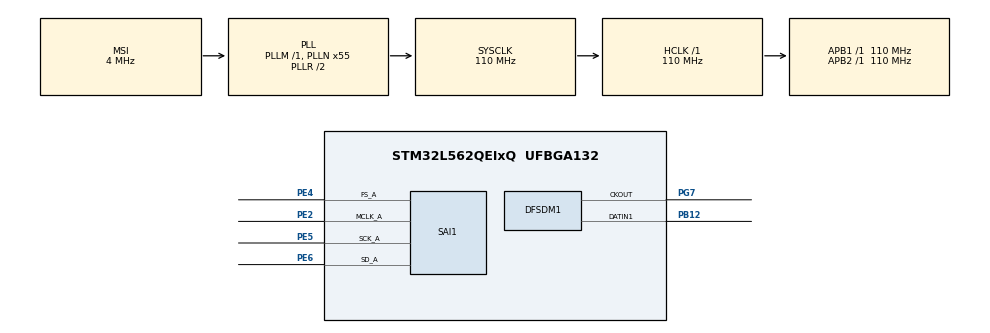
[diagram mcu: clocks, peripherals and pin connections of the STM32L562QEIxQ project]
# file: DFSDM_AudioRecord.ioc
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DFSDM1.Divider=4
DFSDM1.DmaMode_reg_FIL0=ENABLE
DFSDM1.FastMode_reg_FIL0=ENABLE
DFSDM1.FilterOrder_CH1=DFSDM_CHANNEL_SINC1_ORDER
DFSDM1.Filter_regChannel_FIL0=DFSDM_CHANNEL_1
DFSDM1.Fosr_FIL0=64
DFSDM1.Oversampling_CH1=10
DFSDM1.Selection=DFSDM_CHANNEL_OUTPUT_CLOCK_AUDIO
DFSDM1.SincOrder_FIL0=DFSDM_FILTER_SINC3_ORDER
Dma.DFSDM1_FLT0.0.Channel_PRIV_NPRIV=DMA_CHANNEL_NPRIV_DISABLE
Dma.DFSDM1_FLT0.0.Direction=DMA_PERIPH_TO_MEMORY
Dma.DFSDM1_FLT0.0.EventEnable=DISABLE
Dma.DFSDM1_FLT0.0.Instance=DMA1_Channel4
Dma.DFSDM1_FLT0.0.MemDataAlignment=DMA_MDATAALIGN_WORD
Dma.DFSDM1_FLT0.0.MemInc=DMA_MINC_ENABLE
Dma.DFSDM1_FLT0.0.Mode=DMA_CIRCULAR
Dma.DFSDM1_FLT0.0.PeriphDataAlignment=DMA_PDATAALIGN_WORD
Dma.DFSDM1_FLT0.0.PeriphInc=DMA_PINC_DISABLE
Dma.DFSDM1_FLT0.0.Polarity=HAL_DMAMUX_REQ_GEN_RISING
Dma.DFSDM1_FLT0.0.Priority=DMA_PRIORITY_HIGH
Dma.DFSDM1_FLT0.0.RequestNumber=1
Dma.DFSDM1_FLT0.0.SignalID=NONE
Dma.DFSDM1_FLT0.0.SyncEnable=DISABLE
Dma.DFSDM1_FLT0.0.SyncPolarity=HAL_DMAMUX_SYNC_NO_EVENT
Dma.DFSDM1_FLT0.0.SyncRequestNumber=1
Dma.DFSDM1_FLT0.0.SyncSignalID=NONE
Dma.Request0=DFSDM1_FLT0
Dma.Request1=SAI1_A
Dma.SAI1_A.1.Channel_PRIV_NPRIV=DMA_CHANNEL_NPRIV_DISABLE
Dma.SAI1_A.1.Direction=DMA_MEMORY_TO_PERIPH
Dma.SAI1_A.1.EventEnable=DISABLE
Dma.SAI1_A.1.Instance=DMA2_Channel1
Dma.SAI1_A.1.MemDataAlignment=DMA_MDATAALIGN_HALFWORD
Dma.SAI1_A.1.MemInc=DMA_MINC_ENABLE
Dma.SAI1_A.1.Mode=DMA_CIRCULAR
Dma.SAI1_A.1.PeriphDataAlignment=DMA_PDATAALIGN_HALFWORD
Dma.SAI1_A.1.PeriphInc=DMA_PINC_DISABLE
Dma.SAI1_A.1.Polarity=HAL_DMAMUX_REQ_GEN_RISING
Dma.SAI1_A.1.Priority=DMA_PRIORITY_HIGH
Dma.SAI1_A.1.RequestNumber=1
Dma.SAI1_A.1.SignalID=NONE
Dma.SAI1_A.1.SyncEnable=DISABLE
Dma.SAI1_A.1.SyncPolarity=HAL_DMAMUX_SYNC_NO_EVENT
Dma.SAI1_A.1.SyncRequestNumber=1
Dma.SAI1_A.1.SyncSignalID=NONE
Mcu.Family=STM32L5
Mcu.Name=STM32L562QEIxQ
Mcu.Package=UFBGA132
NVIC.DMA1_Channel4_IRQn=true\:7\:0\:true\:false\:true\:false\:true\:true
NVIC.DMA2_Channel1_IRQn=true\:7\:0\:true\:false\:true\:false\:true\:true
NVIC.PriorityGroup=NVIC_PRIORITYGROUP_3
PB12.GPIO_Speed=GPIO_SPEED_FREQ_VERY_HIGH
PB12.Signal=S_DATAIN1DFSDM1
PE2.GPIO_Speed=GPIO_SPEED_FREQ_VERY_HIGH
PE2.Mode=SAI_A_MasterWithClock
PE2.Signal=SAI1_MCLK_A
PE4.GPIO_Speed=GPIO_SPEED_FREQ_VERY_HIGH
PE4.Mode=SAI_A_MasterWithClock
PE4.Signal=SAI1_FS_A
PE5.GPIO_Speed=GPIO_SPEED_FREQ_VERY_HIGH
PE5.Mode=SAI_A_MasterWithClock
PE5.Signal=SAI1_SCK_A
PE6.GPIO_Speed=GPIO_SPEED_FREQ_VERY_HIGH
PE6.Mode=SAI_A_MasterWithClock
PE6.Signal=SAI1_SD_A
PG7.GPIO_Speed=GPIO_SPEED_FREQ_VERY_HIGH
PG7.Signal=S_CKOUTDFSDM1
ProjectManager.HeapSize=0x200
ProjectManager.StackSize=0x400
ProjectManager.TargetToolchain=EWARM V8.32
RCC.ADCFreq_Value=96000000
RCC.AHBFreq_Value=110000000
RCC.APB1Freq_Value=110000000
RCC.APB1TimFreq_Value=110000000
RCC.APB2Freq_Value=110000000
RCC.APB2TimFreq_Value=110000000
RCC.CortexFreq_Value=110000000
RCC.DFSDMAudioCLockSelection=RCC_DFSDM1AUDIOCLKSOURCE_SAI1
RCC.HCLKFreq_Value=110000000
RCC.HSE_VALUE=16000000
RCC.HSI48_VALUE=48000000
RCC.HSI_VALUE=16000000
RCC.LSE_VALUE=32768
RCC.MSI_VALUE=4000000
RCC.PLLN=55
RCC.PLLSAI1N=48
RCC.PLLSAI1P=RCC_PLLP_DIV17
RCC.SYSCLKFreq_VALUE=110000000
RCC.SYSCLKSource=RCC_SYSCLKSOURCE_PLLCLK
RCC.USBFreq_Value=96000000
RCC.VCOOutputFreq_Value=220000000
SAI1.ActiveFrameLength-SAI_A_MasterWithClock=16
SAI1.AudioFrequency-SAI_A_MasterWithClock=SAI_AUDIO_FREQUENCY_44K
SAI1.DataSize-SAI_A_MasterWithClock=SAI_DATASIZE_16
SAI1.ErrorAudioFreq-SAI_A_MasterWithClock=0.26 %
SAI1.FIFOThreshold-SAI_A_MasterWithClock=SAI_FIFOTHRESHOLD_1QF
SAI1.FSDefinition-SAI_A_MasterWithClock=SAI_FS_CHANNEL_IDENTIFICATION
SAI1.FSOffset-SAI_A_MasterWithClock=SAI_FS_BEFOREFIRSTBIT
SAI1.FrameLength-SAI_A_MasterWithClock=32
SAI1.Instance-SAI_A_MasterWithClock=SAI$Index_Block_A
SAI1.MckOutput-SAI_A_MasterWithClock=SAI_MCK_OUTPUT_ENABLE
SAI1.MonoStereoMode-SAI_A_MasterWithClock=SAI_STEREOMODE
SAI1.OutputDrive-SAI_A_MasterWithClock=SAI_OUTPUTDRIVE_ENABLE
SAI1.RealAudioFreq-SAI_A_MasterWithClock=44.117 KHz
SAI1.SlotActive-SAI_A_MasterWithClock=0x00000003
SAI1.SlotNumber-SAI_A_MasterWithClock=2
SAI1.VirtualMode-SAI_A_MasterWithClock=VM_MASTER
SAI1.VirtualSlotActive-SAI_A_MasterWithClock=SAI_SLOT_USERSETTING
SAI1.VirtualSlotActive0-SAI_A_MasterWithClock=true
SAI1.VirtualSlotActive1-SAI_A_MasterWithClock=true
SH.S_CKOUTDFSDM1.0=DFSDM1_CKOUT,CKOUT
SH.S_CKOUTDFSDM1.1=DFSDM1_CKOUT,PDM_SPI_input_from_ch1_and_internal_clock
SH.S_DATAIN1DFSDM1.0=DFSDM1_DATIN1,PDM_SPI_input_from_ch1_and_internal_clock
VP_ICACHE_VS_ICACHE.Mode=DirectMappedCache
VP_PWR_VS_DBSignals.Mode=DisableDeadBatterySignals
board=custom

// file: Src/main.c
/* USER CODE BEGIN Header */
/**
  ******************************************************************************
  * @file           : main.c
  * @brief          : Main program body
  ******************************************************************************
  * @attention
  *
  * Copyright (c) 2019 STMicroelectronics.
  * All rights reserved.
  *
  * This software is licensed under terms that can be found in the LICENSE file
  * in the root directory of this software component.
  * If no LICENSE file comes with this software, it is provided AS-IS.
  *
  ******************************************************************************
  */
/* USER CODE END Header */
#include "main.h"

/* USER CODE BEGIN Includes */
#include "stm32l562e_discovery.h"
#include "stm32l562e_discovery_bus.h"
#include "audio.h"
#include "cs42l51.h"
/* USER CODE END Includes */

/* USER CODE BEGIN PD */
#define AUDIO_I2C_ADDRESS  0x94U
/* USER CODE END PD */

/* USER CODE BEGIN PM */
#define SaturaLH(N, L, H) (((N)<(L))?(L):(((N)>(H))?(H):(N)))
/* USER CODE END PM */

DFSDM_Filter_HandleTypeDef hdfsdm1_filter0;
DFSDM_Channel_HandleTypeDef hdfsdm1_channel1;
DMA_HandleTypeDef hdma_dfsdm1_flt0;

SAI_HandleTypeDef hsai_BlockA1;
DMA_HandleTypeDef hdma_sai1_a;

/* USER CODE BEGIN PV */
int32_t                      RecBuff[2048];
int16_t                      PlayBuff[4096];
__IO uint32_t                DmaRecHalfBuffCplt  = 0;
__IO uint32_t                DmaRecBuffCplt      = 0;
uint32_t                     PlaybackStarted     = 0;
/* Audio component object */
void *Audio_CompObj = NULL;
/* Audio driver */
AUDIO_Drv_t *Audio_Drv = NULL;
/* USER CODE END PV */

void SystemClock_Config(void);
void PeriphCommonClock_Config(void);
static void MX_GPIO_Init(void);
static void MX_DMA_Init(void);
static void MX_ICACHE_Init(void);
static void MX_DFSDM1_Init(void);
static void MX_SAI1_Init(void);
/* USER CODE BEGIN PFP */
static void Playback_Init(void);
/* USER CODE END PFP */

int main(void)
{
  /* USER CODE BEGIN 1 */
  uint32_t i;
  /* USER CODE END 1 */

  /* MCU Configuration--------------------------------------------------------*/

  /* Reset of all peripherals, Initializes the Flash interface and the Systick. */
  HAL_Init();

  /* Configure the system clock */
  SystemClock_Config();

/* Configure the peripherals common clocks */
  PeriphCommonClock_Config();

  /* USER CODE BEGIN SysInit */
  /* Configure LED_RED */
  if (BSP_LED_Init(LED_RED) != BSP_ERROR_NONE)
  {
    Error_Handler();
  }
  /* USER CODE END SysInit */

  /* Initialize all configured peripherals */
  MX_GPIO_Init();
  MX_DMA_Init();
  MX_ICACHE_Init();
  MX_DFSDM1_Init();
  MX_SAI1_Init();
  /* USER CODE BEGIN 2 */
  /* Initialize playback */
  Playback_Init();

  /* Start DFSDM conversions */
  if(HAL_OK != HAL_DFSDM_FilterRegularStart_DMA(&hdfsdm1_filter0, RecBuff, 2048))
  {
    Error_Handler();
  }
  /* USER CODE END 2 */

  /* Infinite loop */
  /* USER CODE BEGIN WHILE */
  while (1)
  {
    if(DmaRecHalfBuffCplt == 1)
    {
      /* Store values on Play buff */
      for(i = 0; i < 1024; i++)
      {
        PlayBuff[2*i]     = SaturaLH((RecBuff[i] >> 8), -32768, 32767);
        PlayBuff[(2*i)+1] = PlayBuff[2*i];
      }
      if(PlaybackStarted == 0)
      {
        if(HAL_OK != HAL_SAI_Transmit_DMA(&hsai_BlockA1, (uint8_t *) &PlayBuff[0], 4096))
        {
          Error_Handler();
        }
        if (Audio_Drv->Play(Audio_CompObj) < 0)
        {
          Error_Handler();
        }
        PlaybackStarted = 1;
      }
      DmaRecHalfBuffCplt  = 0;
    }
    if(DmaRecBuffCplt == 1)
    {
      /* Store values on Play buff */
      for(i = 1024; i < 2048; i++)
      {
        PlayBuff[2*i]     = SaturaLH((RecBuff[i] >> 8), -32768, 32767);
        PlayBuff[(2*i)+1] = PlayBuff[2*i];
      }
      DmaRecBuffCplt  = 0;
    }
    /* USER CODE END WHILE */

  }
}

void SystemClock_Config(void)
{
  RCC_OscInitTypeDef RCC_OscInitStruct = {0};
  RCC_ClkInitTypeDef RCC_ClkInitStruct = {0};

  /** Configure the main internal regulator output voltage
  */
  if (HAL_PWREx_ControlVoltageScaling(PWR_REGULATOR_VOLTAGE_SCALE0) != HAL_OK)
  {
    Error_Handler();
  }

  /** Initializes the RCC Oscillators according to the specified parameters
  * in the RCC_OscInitTypeDef structure.
  */
  RCC_OscInitStruct.OscillatorType = RCC_OSCILLATORTYPE_MSI;
  RCC_OscInitStruct.MSIState = RCC_MSI_ON;
  RCC_OscInitStruct.MSICalibrationValue = RCC_MSICALIBRATION_DEFAULT;
  RCC_OscInitStruct.MSIClockRange = RCC_MSIRANGE_6;
  RCC_OscInitStruct.PLL.PLLState = RCC_PLL_ON;
  RCC_OscInitStruct.PLL.PLLSource = RCC_PLLSOURCE_MSI;
  RCC_OscInitStruct.PLL.PLLM = 1;
  RCC_OscInitStruct.PLL.PLLN = 55;
  RCC_OscInitStruct.PLL.PLLP = RCC_PLLP_DIV7;
  RCC_OscInitStruct.PLL.PLLQ = RCC_PLLQ_DIV2;
  RCC_OscInitStruct.PLL.PLLR = RCC_PLLR_DIV2;
  if (HAL_RCC_OscConfig(&RCC_OscInitStruct) != HAL_OK)
  {
    Error_Handler();
  }

  /** Initializes the CPU, AHB and APB buses clocks
  */
  RCC_ClkInitStruct.ClockType = RCC_CLOCKTYPE_HCLK|RCC_CLOCKTYPE_SYSCLK
                              |RCC_CLOCKTYPE_PCLK1|RCC_CLOCKTYPE_PCLK2;
  RCC_ClkInitStruct.SYSCLKSource = RCC_SYSCLKSOURCE_PLLCLK;
  RCC_ClkInitStruct.AHBCLKDivider = RCC_SYSCLK_DIV1;
  RCC_ClkInitStruct.APB1CLKDivider = RCC_HCLK_DIV1;
  RCC_ClkInitStruct.APB2CLKDivider = RCC_HCLK_DIV1;

  if (HAL_RCC_ClockConfig(&RCC_ClkInitStruct, FLASH_LATENCY_5) != HAL_OK)
  {
    Error_Handler();
  }
}

void PeriphCommonClock_Config(void)
{
  RCC_PeriphCLKInitTypeDef PeriphClkInit = {0};

  /** Initializes the common periph clock
  */
  PeriphClkInit.PeriphClockSelection = RCC_PERIPHCLK_DFSDM1AUDIO|RCC_PERIPHCLK_SAI1;
  PeriphClkInit.Sai1ClockSelection = RCC_SAI1CLKSOURCE_PLLSAI1;
  PeriphClkInit.Dfsdm1AudioClockSelection = RCC_DFSDM1AUDIOCLKSOURCE_SAI1;
  PeriphClkInit.PLLSAI1.PLLSAI1Source = RCC_PLLSAI1SOURCE_MSI;
  PeriphClkInit.PLLSAI1.PLLSAI1M = 1;
  PeriphClkInit.PLLSAI1.PLLSAI1N = 48;
  PeriphClkInit.PLLSAI1.PLLSAI1P = RCC_PLLP_DIV17;
  PeriphClkInit.PLLSAI1.PLLSAI1Q = RCC_PLLQ_DIV2;
  PeriphClkInit.PLLSAI1.PLLSAI1R = RCC_PLLR_DIV2;
  PeriphClkInit.PLLSAI1.PLLSAI1ClockOut = RCC_PLLSAI1_SAI1CLK;
  if (HAL_RCCEx_PeriphCLKConfig(&PeriphClkInit) != HAL_OK)
  {
    Error_Handler();
  }
}

static void MX_DFSDM1_Init(void)
{

  hdfsdm1_filter0.Instance = DFSDM1_Filter0;
  hdfsdm1_filter0.Init.RegularParam.Trigger = DFSDM_FILTER_SW_TRIGGER;
  hdfsdm1_filter0.Init.RegularParam.FastMode = ENABLE;
  hdfsdm1_filter0.Init.RegularParam.DmaMode = ENABLE;
  hdfsdm1_filter0.Init.FilterParam.SincOrder = DFSDM_FILTER_SINC3_ORDER;
  hdfsdm1_filter0.Init.FilterParam.Oversampling = 64;
  hdfsdm1_filter0.Init.FilterParam.IntOversampling = 1;
  if (HAL_DFSDM_FilterInit(&hdfsdm1_filter0) != HAL_OK)
  {
    Error_Handler();
  }
  hdfsdm1_channel1.Instance = DFSDM1_Channel1;
  hdfsdm1_channel1.Init.OutputClock.Activation = ENABLE;
  hdfsdm1_channel1.Init.OutputClock.Selection = DFSDM_CHANNEL_OUTPUT_CLOCK_AUDIO;
  hdfsdm1_channel1.Init.OutputClock.Divider = 4;
  hdfsdm1_channel1.Init.Input.Multiplexer = DFSDM_CHANNEL_EXTERNAL_INPUTS;
  hdfsdm1_channel1.Init.Input.DataPacking = DFSDM_CHANNEL_STANDARD_MODE;
  hdfsdm1_channel1.Init.Input.Pins = DFSDM_CHANNEL_SAME_CHANNEL_PINS;
  hdfsdm1_channel1.Init.SerialInterface.Type = DFSDM_CHANNEL_SPI_RISING;
  hdfsdm1_channel1.Init.SerialInterface.SpiClock = DFSDM_CHANNEL_SPI_CLOCK_INTERNAL;
  hdfsdm1_channel1.Init.Awd.FilterOrder = DFSDM_CHANNEL_SINC1_ORDER;
  hdfsdm1_channel1.Init.Awd.Oversampling = 10;
  hdfsdm1_channel1.Init.Offset = 0;
  hdfsdm1_channel1.Init.RightBitShift = 0x00;
  if (HAL_DFSDM_ChannelInit(&hdfsdm1_channel1) != HAL_OK)
  {
    Error_Handler();
  }
  if (HAL_DFSDM_FilterConfigRegChannel(&hdfsdm1_filter0, DFSDM_CHANNEL_1, DFSDM_CONTINUOUS_CONV_ON) != HAL_OK)
  {
    Error_Handler();
  }

}

static void MX_ICACHE_Init(void)
{

  /** Enable instruction cache in 1-way (direct mapped cache)
  */
  if (HAL_ICACHE_ConfigAssociativityMode(ICACHE_1WAY) != HAL_OK)
  {
    Error_Handler();
  }
  if (HAL_ICACHE_Enable() != HAL_OK)
  {
    Error_Handler();
  }

}

static void MX_SAI1_Init(void)
{

  hsai_BlockA1.Instance = SAI1_Block_A;
  hsai_BlockA1.Init.Protocol = SAI_FREE_PROTOCOL;
  hsai_BlockA1.Init.AudioMode = SAI_MODEMASTER_TX;
  hsai_BlockA1.Init.DataSize = SAI_DATASIZE_16;
  hsai_BlockA1.Init.FirstBit = SAI_FIRSTBIT_MSB;
  hsai_BlockA1.Init.ClockStrobing = SAI_CLOCKSTROBING_FALLINGEDGE;
  hsai_BlockA1.Init.Synchro = SAI_ASYNCHRONOUS;
  hsai_BlockA1.Init.OutputDrive = SAI_OUTPUTDRIVE_ENABLE;
  hsai_BlockA1.Init.NoDivider = SAI_MASTERDIVIDER_ENABLE;
  hsai_BlockA1.Init.FIFOThreshold = SAI_FIFOTHRESHOLD_1QF;
  hsai_BlockA1.Init.AudioFrequency = SAI_AUDIO_FREQUENCY_44K;
  hsai_BlockA1.Init.SynchroExt = SAI_SYNCEXT_DISABLE;
  hsai_BlockA1.Init.MonoStereoMode = SAI_STEREOMODE;
  hsai_BlockA1.Init.CompandingMode = SAI_NOCOMPANDING;
  hsai_BlockA1.Init.TriState = SAI_OUTPUT_NOTRELEASED;
  hsai_BlockA1.Init.PdmInit.Activation = DISABLE;
  hsai_BlockA1.Init.PdmInit.MicPairsNbr = 1;
  hsai_BlockA1.Init.PdmInit.ClockEnable = SAI_PDM_CLOCK1_ENABLE;
  hsai_BlockA1.FrameInit.FrameLength = 32;
  hsai_BlockA1.FrameInit.ActiveFrameLength = 16;
  hsai_BlockA1.FrameInit.FSDefinition = SAI_FS_CHANNEL_IDENTIFICATION;
  hsai_BlockA1.FrameInit.FSPolarity = SAI_FS_ACTIVE_LOW;
  hsai_BlockA1.FrameInit.FSOffset = SAI_FS_BEFOREFIRSTBIT;
  hsai_BlockA1.SlotInit.FirstBitOffset = 0;
  hsai_BlockA1.SlotInit.SlotSize = SAI_SLOTSIZE_DATASIZE;
  hsai_BlockA1.SlotInit.SlotNumber = 2;
  hsai_BlockA1.SlotInit.SlotActive = 0x00000003;
  if (HAL_SAI_Init(&hsai_BlockA1) != HAL_OK)
  {
    Error_Handler();
  }

}

static void MX_DMA_Init(void)
{

  /* DMA controller clock enable */
  __HAL_RCC_DMAMUX1_CLK_ENABLE();
  __HAL_RCC_DMA1_CLK_ENABLE();
  __HAL_RCC_DMA2_CLK_ENABLE();

  /* DMA interrupt init */
  /* DMA1_Channel4_IRQn interrupt configuration */
  HAL_NVIC_SetPriority(DMA1_Channel4_IRQn, 7, 0);
  HAL_NVIC_EnableIRQ(DMA1_Channel4_IRQn);
  /* DMA2_Channel1_IRQn interrupt configuration */
  HAL_NVIC_SetPriority(DMA2_Channel1_IRQn, 7, 0);
  HAL_NVIC_EnableIRQ(DMA2_Channel1_IRQn);

}

static void MX_GPIO_Init(void)
{

  /* GPIO Ports Clock Enable */
  __HAL_RCC_GPIOE_CLK_ENABLE();
  __HAL_RCC_GPIOG_CLK_ENABLE();
  HAL_PWREx_EnableVddIO2();
  __HAL_RCC_GPIOB_CLK_ENABLE();

}

/* USER CODE BEGIN 4 */
/**
  * @brief  Playback initialization
  * @param  None
  * @retval None
  */
static void Playback_Init(void)
{
  GPIO_InitTypeDef         GPIO_InitStruct;
  CS42L51_IO_t             IOCtx;
  uint32_t                 cs42l51_id;
  static CS42L51_Object_t  CS42L51Obj;
  CS42L51_Init_t           codec_init;

  /* Initialize and configure the CS42L51 reset pin */
  __HAL_RCC_PWR_CLK_ENABLE();
  HAL_PWREx_EnableVddIO2();
  __HAL_RCC_GPIOG_CLK_ENABLE();
  GPIO_InitStruct.Mode  = GPIO_MODE_OUTPUT_PP;
  GPIO_InitStruct.Pull  = GPIO_PULLDOWN;
  GPIO_InitStruct.Speed = GPIO_SPEED_FREQ_VERY_HIGH;
  GPIO_InitStruct.Pin   = GPIO_PIN_1;
  HAL_GPIO_Init(GPIOG, &GPIO_InitStruct);

  /* Un-reset the CS42L51 */
  HAL_GPIO_WritePin(GPIOG, GPIO_PIN_1, GPIO_PIN_SET);
  /* Wait 1ms according CS42L51 datasheet */
  HAL_Delay(1);

  /* Enable SAI to generate clock used by audio driver */
  __HAL_SAI_ENABLE(&hsai_BlockA1);

  /* Configure and initialize the audio driver */
  IOCtx.Address     = AUDIO_I2C_ADDRESS;
  IOCtx.Init        = BSP_I2C1_Init;
  IOCtx.DeInit      = BSP_I2C1_DeInit;
  IOCtx.ReadReg     = BSP_I2C1_ReadReg;
  IOCtx.WriteReg    = BSP_I2C1_WriteReg;
  IOCtx.GetTick     = BSP_GetTick;
  if (CS42L51_RegisterBusIO(&CS42L51Obj, &IOCtx) != CS42L51_OK)
  {
    Error_Handler();
  }
  else if (CS42L51_ReadID(&CS42L51Obj, &cs42l51_id) != CS42L51_OK)
  {
    Error_Handler();
  }
  else if ((cs42l51_id & CS42L51_ID_MASK) != CS42L51_ID)
  {
    Error_Handler();
  }
  else
  {
    Audio_Drv = (AUDIO_Drv_t *) &CS42L51_Driver;
    Audio_CompObj = &CS42L51Obj;

    /* Initialize audio codec */
    codec_init.InputDevice  = CS42L51_IN_NONE;
    codec_init.OutputDevice = CS42L51_OUT_HEADPHONE;
    codec_init.Frequency    = CS42L51_FREQUENCY_44K;
    codec_init.Resolution   = CS42L51_RESOLUTION_16B;
    codec_init.Volume       = 90;
    if (Audio_Drv->Init(Audio_CompObj, &codec_init) < 0)
    {
      Error_Handler();
    }
  }
}

/**
  * @brief  Half regular conversion complete callback.
  * @param  hdfsdm_filter : DFSDM filter handle.
  * @retval None
  */
void HAL_DFSDM_FilterRegConvHalfCpltCallback(DFSDM_Filter_HandleTypeDef *hdfsdm_filter)
{
  if(hdfsdm_filter == &hdfsdm1_filter0)
  {
    DmaRecHalfBuffCplt = 1;
  }
}

/**
  * @brief  Regular conversion complete callback.
  * @note   In interrupt mode, user has to read conversion value in this function
            using HAL_DFSDM_FilterGetRegularValue.
  * @param  hdfsdm_filter : DFSDM filter handle.
  * @retval None
  */
void HAL_DFSDM_FilterRegConvCpltCallback(DFSDM_Filter_HandleTypeDef *hdfsdm_filter)
{
  if(hdfsdm_filter == &hdfsdm1_filter0)
  {
    DmaRecBuffCplt = 1;
  }
}
/* USER CODE END 4 */

void Error_Handler(void)
{
  /* USER CODE BEGIN Error_Handler_Debug */
  while (1)
  {
    /* Toggle LED_RED with a period of one second */
    (void) BSP_LED_Toggle(LED_RED);
    HAL_Delay(1000);
  }
  /* USER CODE END Error_Handler_Debug */
}

#ifdef  USE_FULL_ASSERT
/**
  * @brief  Reports the name of the source file and the source line number
  *         where the assert_param error has occurred.
  * @param  file: pointer to the source file name
  * @param  line: assert_param error line source number
  * @retval None
  */
void assert_failed(uint8_t *file, uint32_t line)
{
  /* USER CODE BEGIN 6 */
  /* User can add his own implementation to report the file name and line number,
     ex: printf("Wrong parameters value: file %s on line %d\r\n", file, line) */
  /* Infinite loop */
  while (1)
  {}
  /* USER CODE END 6 */
}
#endif /* USE_FULL_ASSERT */
